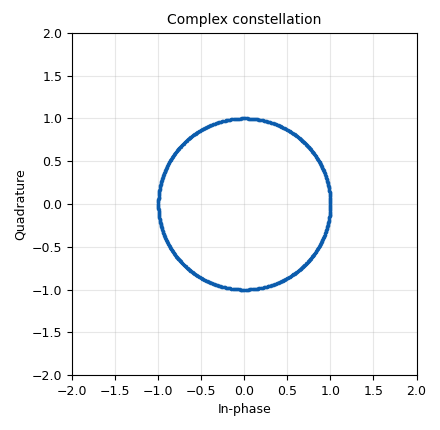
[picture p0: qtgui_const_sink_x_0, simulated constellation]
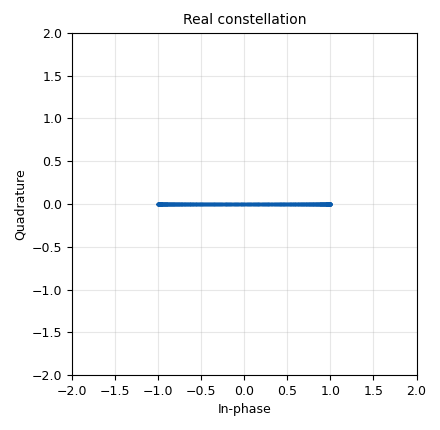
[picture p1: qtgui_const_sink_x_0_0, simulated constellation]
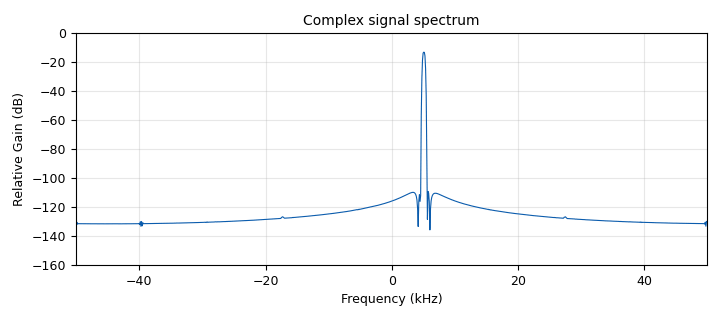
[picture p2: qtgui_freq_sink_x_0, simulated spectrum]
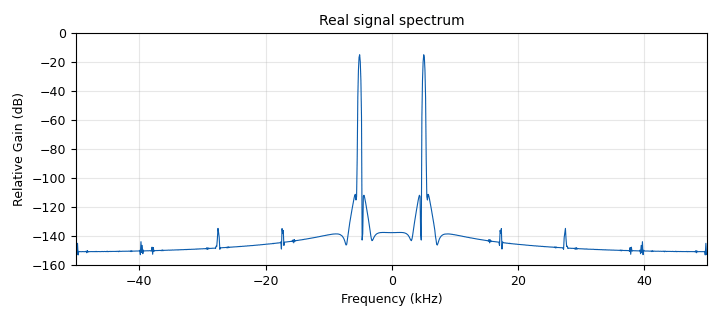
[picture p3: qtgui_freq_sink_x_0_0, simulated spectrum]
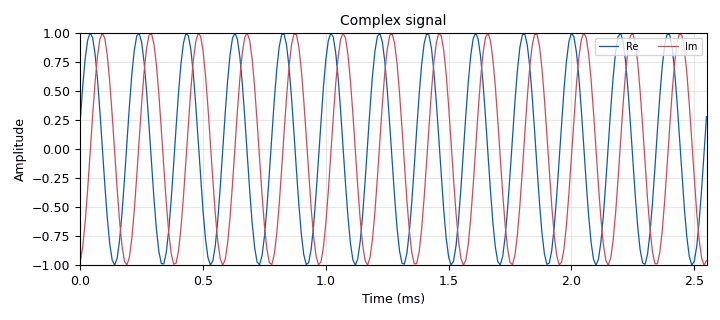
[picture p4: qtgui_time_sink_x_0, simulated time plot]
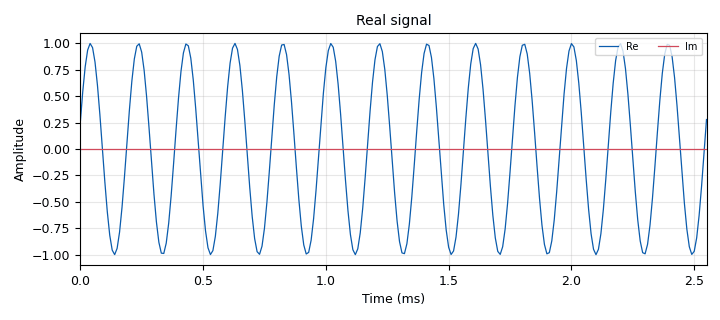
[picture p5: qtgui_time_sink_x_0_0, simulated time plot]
options:
  parameters:
    generate_options: qt_gui
    id: Signal_generator
    output_language: python
    title: Real and complex signals
  states: {}

blocks:
- name: freq
  id: variable_qtgui_range
  parameters:
    gui_hint: 0,0,1,2
    start: '-100e3'
    step: '0.05'
    stop: 100e3
    value: 5.1e3
  states: {}
- name: samp_rate
  id: variable
  parameters:
    value: 100e3
  states: {}
- name: analog_sig_source_x_0
  id: analog_sig_source_x
  parameters:
    amp: '1'
    freq: freq
    offset: '0'
    phase: '0'
    samp_rate: samp_rate
    type: complex
    waveform: analog.GR_COS_WAVE
  states: {}
- name: blocks_add_xx_0
  id: blocks_add_xx
  parameters:
    type: complex
  states: {}
- name: blocks_conjugate_cc_0
  id: blocks_conjugate_cc
  parameters: {}
  states: {}
- name: blocks_multiply_const_vxx_0
  id: blocks_multiply_const_vxx
  parameters:
    const: '0.5'
    type: complex
  states: {}
- name: blocks_throttle_0
  id: blocks_throttle
  parameters:
    samples_per_second: samp_rate
    type: complex
  states: {}
- name: qtgui_const_sink_x_0
  id: qtgui_const_sink_x
  parameters:
    gui_hint: 3,0,1,1
    name: '"Complex constellation"'
    size: '1024'
    type: complex
  states: {}
- name: qtgui_const_sink_x_0_0
  id: qtgui_const_sink_x
  parameters:
    gui_hint: 3,1,1,1
    name: '"Real constellation"'
    size: '1024'
    type: complex
  states: {}
- name: qtgui_freq_sink_x_0
  id: qtgui_freq_sink_x
  parameters:
    bw: samp_rate
    fc: '0'
    fftsize: '1024'
    gui_hint: 1,0,1,1
    name: '"Complex signal spectrum"'
    type: complex
    wintype: window.WIN_FLATTOP
    ymax: '0'
    ymin: '-160'
  states: {}
- name: qtgui_freq_sink_x_0_0
  id: qtgui_freq_sink_x
  parameters:
    bw: samp_rate
    fc: '0'
    fftsize: '1024'
    gui_hint: 1,1,1,1
    name: '"Real signal spectrum"'
    type: complex
    ymax: '0'
    ymin: '-160'
  states: {}
- name: qtgui_time_sink_x_0
  id: qtgui_time_sink_x
  parameters:
    gui_hint: 2,0,1,1
    label1: Re
    label2: Im
    name: '"Complex signal"'
    size: '256'
    srate: samp_rate
    tr_level: '0.5'
    tr_mode: qtgui.TRIG_MODE_AUTO
    type: complex
  states: {}
- name: qtgui_time_sink_x_0_0
  id: qtgui_time_sink_x
  parameters:
    autoscale: 'True'
    gui_hint: 2,1,1,1
    label1: Re
    label2: Im
    name: '"Real signal"'
    size: '256'
    srate: samp_rate
    tr_level: '0.5'
    tr_mode: qtgui.TRIG_MODE_AUTO
    type: complex
  states: {}

connections:
- [analog_sig_source_x_0, '0', blocks_add_xx_0, '0']
- [analog_sig_source_x_0, '0', blocks_conjugate_cc_0, '0']
- [analog_sig_source_x_0, '0', blocks_throttle_0, '0']
- [analog_sig_source_x_0, '0', qtgui_const_sink_x_0, '0']
- [analog_sig_source_x_0, '0', qtgui_freq_sink_x_0, '0']
- [analog_sig_source_x_0, '0', qtgui_time_sink_x_0, '0']
- [blocks_add_xx_0, '0', blocks_multiply_const_vxx_0, '0']
- [blocks_conjugate_cc_0, '0', blocks_add_xx_0, '1']
- [blocks_multiply_const_vxx_0, '0', qtgui_const_sink_x_0_0, '0']
- [blocks_multiply_const_vxx_0, '0', qtgui_freq_sink_x_0_0, '0']
- [blocks_multiply_const_vxx_0, '0', qtgui_time_sink_x_0_0, '0']

metadata:
  file_format: 1
